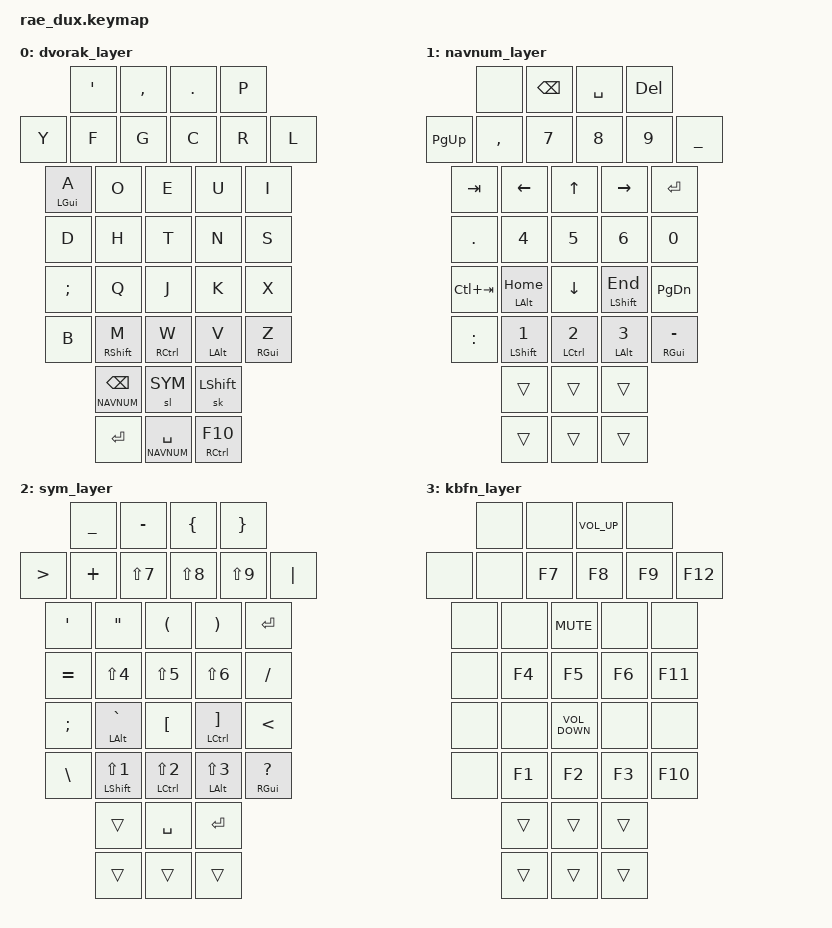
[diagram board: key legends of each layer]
/*
 * Copyright (c) 2021 The ZMK Contributors
 *
 * SPDX-License-Identifier: MIT
 */

#include <behaviors.dtsi>
#include <dt-bindings/zmk/bt.h>
#include <dt-bindings/zmk/keys.h>

&sk {
    release-after-ms = <750>;
    quick-release;
};

&caps_word {
    continue-list = <UNDERSCORE MINUS BSPC>;
};

#define DVORAK 0
#define NAVNUM 1
#define SYM 2
#define KBFN 3

#define MY_PSCRN LS(LC(PSCRN))
#define MY_COPY LC(INSERT)
#define MY_PASTE LS(INSERT)
#define VI_U LC(Z)
#define VI_W LC(RIGHT)
#define VI_B LC(LEFT)

/ {
    combos {
        compatible = "zmk,combos";

    // shortcut
    #define COMBO(NAME, BINDINGS, KEYPOS, TIMEOUT) \
          combo_##NAME { \
            timeout-ms = <TIMEOUT>; \
            bindings = <BINDINGS>; \
            key-positions = <KEYPOS>; \
          };

        /*                KEY POSITIONS

          ╭────────────────────╮ ╭────────────────────╮
          │  0   1   2   3   4 │ │  5   6   7   8   9 │
          │ 10  11  12  13  14 │ │ 15  16  17  18  19 │
          │ 20  21  22  23  24 │ │ 25  26  27  28  29 │
          ╰───────╮ 30  31  32 │ │ 33  34  35 ╭───────╯
                  ╰────────────╯ ╰────────────╯        */

        COMBO(escape, &kp ESCAPE, 12 13, 60)
        // COMBO(caps_word_right, &caps_word, 26 27, 60)
        // COMBO(caps_word_left, &caps_word, 22 23, 60)

        // COMBO(colon, &kp COLON, 7 8, 60)
        // COMBO(semicolon, &kp SEMI, 27 28, 60)
        // COMBO(slash, &kp FSLH, 1 2, 60)

        // COMBO(minus, &kp MINUS, 31 32, 100)
        // COMBO(underscore, &kp UNDER, 33 34, 100)

        // COMBO(equal, &kp EQUAL, 12 23, 100)
        // COMBO(enter, &kp ENTER, 17 26, 60)

        // COMBO(reset_left, &bootloader, 0 1 2 3, 100)
        // COMBO(reset_right, &bootloader, 6 7 8 9, 100)
    };

    behaviors {
        fht: finger_hold_tap {
            compatible = "zmk,behavior-hold-tap";
            label = "FINGER_HOLD_TAP";
            #binding-cells = <2>;
            flavor = "tap-preferred";
            tapping-term-ms = <400>;
            bindings = <&kp>, <&kp>;
        };
    };

	keymap {
		compatible = "zmk,keymap";

		dvorak_layer {
			bindings = <
// LR3
&kp SINGLE_QUOTE &kp COMMA &kp PERIOD &kp P
// RR3
&kp Y &kp F &kp G &kp C &kp R &kp L
// LR2
&fht LEFT_GUI A &kp O &kp E &kp U &kp I
// RR2
&kp D &kp H &kp T &kp N &kp S
// LR1
&kp SEMICOLON &kp Q &kp J &kp K &kp X
// RR1
&kp B &fht RIGHT_SHIFT M &fht RIGHT_CONTROL W &fht LEFT_ALT V &fht RIGHT_GUI Z
// LT
&lt NAVNUM BACKSPACE &sl SYM &sk LEFT_SHIFT
// RT
&kp ENTER &lt NAVNUM SPC &mt RIGHT_CONTROL F10
			>;
		};

		navnum_layer {
			bindings = <
// LR3
&none &kp BACKSPACE &kp SPACE &kp DELETE &kp PAGE_UP
// RR3
&kp COMMA &kp N7 &kp N8 &kp N9 &kp UNDERSCORE 
// LR2
&kp TAB &kp LEFT &kp UP &kp RIGHT &kp ENTER
// RR2
&kp PERIOD &kp N4 &kp N5 &kp N6 &kp N0
// LR1
&kp LC(TAB) &mt LEFT_ALT HOME &kp DOWN &mt LEFT_SHIFT END &kp PAGE_DOWN
// RR1
&kp COLON &mt LEFT_SHIFT N1 &mt LEFT_CONTROL N2 &mt LEFT_ALT N3 &mt RIGHT_GUI MINUS
// Thumbs
&trans &trans &trans &trans &trans &trans
			>;
		};

		sym_layer {
			bindings = <
// LR3
&kp UNDERSCORE &kp MINUS &kp LEFT_BRACE &kp RIGHT_BRACE &kp GREATER_THAN
// RR3
&kp PLUS &kp LS(N7) &kp LS(N8) &kp LS(N9) &kp PIPE 
// LR2
&kp SINGLE_QUOTE &kp DOUBLE_QUOTES &kp LEFT_PARENTHESIS &kp RIGHT_PARENTHESIS &kp ENTER
// RR2
&kp EQUAL &kp LS(N4) &kp LS(N5) &kp LS(N6) &kp SLASH
// LR1
&kp SEMICOLON &mt LEFT_ALT GRAVE &kp LEFT_BRACKET &mt LEFT_CONTROL RIGHT_BRACKET &kp LESS_THAN
// RR1
&kp BACKSLASH &mt LEFT_SHIFT LS(N1) &mt LEFT_CONTROL LS(N2) &mt LEFT_ALT LS(N3) &mt RIGHT_GUI QUESTION
// Thumbs
&trans &kp SPACE &kp ENTER &trans &trans &trans
			>;
		};

		kbfn_layer {
			bindings = <
// LR3
&none &none &kp C_VOLUME_UP &none &none
// RR3
&none &kp F7 &kp F8 &kp F9 &kp F12
// LR2
&none &none &kp C_MUTE &none &none
// RR2
&none &kp F4 &kp F5 &kp F6 &kp F11
// LR1
&none &none &kp C_VOLUME_DOWN &none &none
// RR1
&none &kp F1 &kp F2 &kp F3 &kp F10
// Thumbs
&trans &trans &trans &trans &trans &trans
			>;
		};
	};
};
